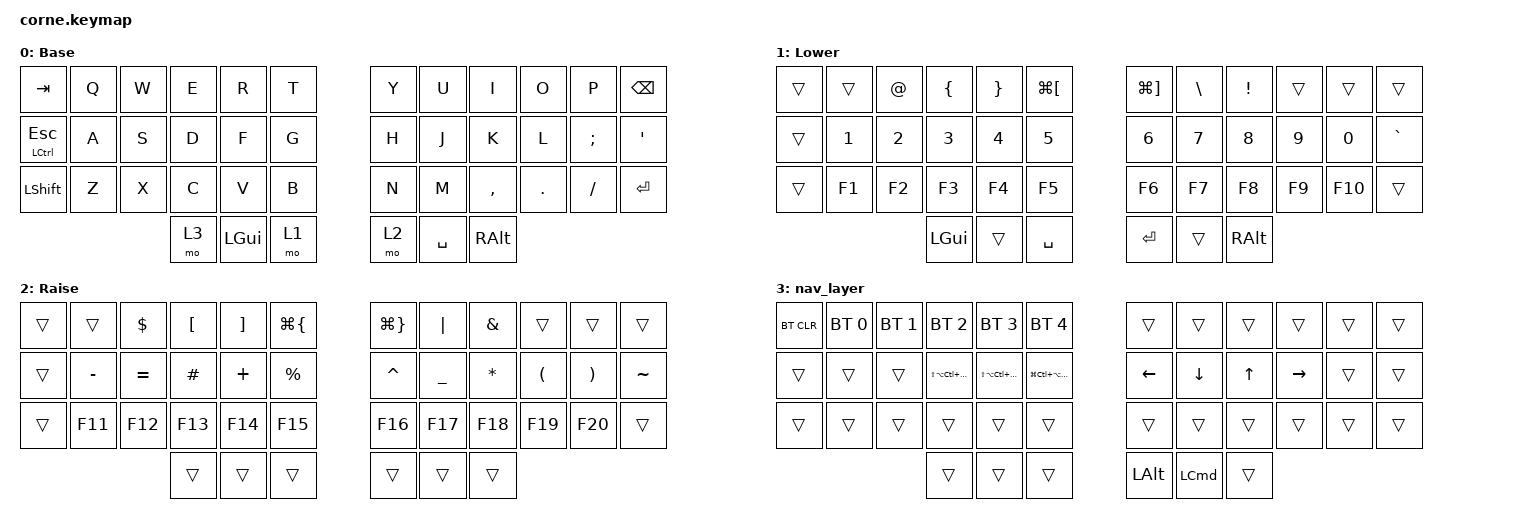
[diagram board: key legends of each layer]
/*
 * Copyright (c) 2020 The ZMK Contributors
 *
 * SPDX-License-Identifier: MIT
 */

#include <behaviors.dtsi>
#include <dt-bindings/zmk/bt.h>
#include <dt-bindings/zmk/keys.h>

/ {
    keymap {
        compatible = "zmk,keymap";

        default_layer {
            // -----------------------------------------------------------------------------------------
            // |  TAB |  Q  |  W  |  E  |  R  |  T  |   |  Y  |  U   |  I  |  O  |  P  | BKSP |
            // | CTRL |  A  |  S  |  D  |  F  |  G  |   |  H  |  J   |  K  |  L  |  ;  |  '   |
            // | SHFT |  Z  |  X  |  C  |  V  |  B  |   |  N  |  M   |  ,  |  .  |  /  | ESC  |
            //                    | GUI | LWR | SPC |   | ENT | RSE  | ALT |

            display-name = "Base";
            bindings = <
&kp TAB           &kp Q  &kp W  &kp E  &kp R     &kp T    &kp Y  &kp U      &kp I      &kp O    &kp P     &kp BSPC
&mt LCTRL ESCAPE  &kp A  &kp S  &kp D  &kp F     &kp G    &kp H  &kp J      &kp K      &kp L    &kp SEMI  &kp SQT
&kp LSHFT         &kp Z  &kp X  &kp C  &kp V     &kp B    &kp N  &kp M      &kp COMMA  &kp DOT  &kp FSLH  &kp RET
                                &mo 3  &kp LGUI  &mo 1    &mo 2  &kp SPACE  &kp RALT
            >;
        };

        lower_layer {
            // -----------------------------------------------------------------------------------------
            // |  TAB |  1  |  2  |  3  |  4  |  5  |   |  6  |  7  |  8  |  9  |  0  | BKSP |
            // | BTCLR| BT1 | BT2 | BT3 | BT4 | BT5 |   | LFT | DWN |  UP | RGT |     |      |
            // | SHFT |     |     |     |     |     |   |     |     |     |     |     |      |
            //                    | GUI |     | SPC |   | ENT |     | ALT |

            display-name = "Lower";
            bindings = <
&trans  &trans        &kp AT        &kp LEFT_BRACE  &kp RIGHT_BRACE  &kp LG(LEFT_BRACKET)    &kp LG(RIGHT_BRACKET)  &kp BACKSLASH  &kp EXCLAMATION  &trans        &trans        &trans
&trans  &kp NUMBER_1  &kp NUMBER_2  &kp NUMBER_3    &kp NUMBER_4     &kp NUMBER_5            &kp NUMBER_6           &kp NUMBER_7   &kp NUMBER_8     &kp NUMBER_9  &kp NUMBER_0  &kp GRAVE
&trans  &kp F1        &kp F2        &kp F3          &kp F4           &kp F5                  &kp F6                 &kp F7         &kp F8           &kp F9        &kp F10       &trans
                                    &kp LGUI        &trans           &kp SPACE               &kp RET                &trans         &kp RALT
            >;
        };

        raise_layer {
            // -----------------------------------------------------------------------------------------
            // |  TAB |  !  |  @  |  #  |  $  |  %  |   |  ^  |  &  |  *  |  (  |  )  | BKSP |
            // | CTRL |     |     |     |     |     |   |  -  |  =  |  [  |  ]  |  \  |  `   |
            // | SHFT |     |     |     |     |     |   |  _  |  +  |  {  |  }  | "|" |  ~   |
            //                    | GUI |     | SPC |   | ENT |     | ALT |

            display-name = "Raise";
            bindings = <
&trans  &trans     &kp DOLLAR  &kp LEFT_BRACKET  &kp RIGHT_BRACKET  &kp LG(LEFT_BRACE)    &kp LG(RIGHT_BRACE)  &kp PIPE   &kp AMPERSAND  &trans                &trans                 &trans
&trans  &kp MINUS  &kp EQUAL   &kp HASH          &kp PLUS           &kp PERCENT           &kp CARET            &kp UNDER  &kp ASTRK      &kp LEFT_PARENTHESIS  &kp RIGHT_PARENTHESIS  &kp TILDE
&trans  &kp F11    &kp F12     &kp F13           &kp F14            &kp F15               &kp F16              &kp F17    &kp F18        &kp F19               &kp F20                &trans
                               &trans            &trans             &trans                &trans               &trans     &trans
            >;
        };

        nav_layer {
            bindings = <
&bt BT_CLR  &bt BT_SEL 0  &bt BT_SEL 1  &bt BT_SEL 2             &bt BT_SEL 3             &bt BT_SEL 4               &trans        &trans            &trans  &trans     &trans  &trans
&trans      &trans        &trans        &kp LS(LA(LC(LG(F12))))  &kp LS(LA(LC(LG(F11))))  &kp LG(LC(LA(LS(F10))))    &kp LEFT      &kp DOWN          &kp UP  &kp RIGHT  &trans  &trans
&trans      &trans        &trans        &trans                   &trans                   &trans                     &trans        &trans            &trans  &trans     &trans  &trans
                                        &trans                   &trans                   &trans                     &kp LEFT_ALT  &kp LEFT_COMMAND  &trans
            >;
        };
    };
};
